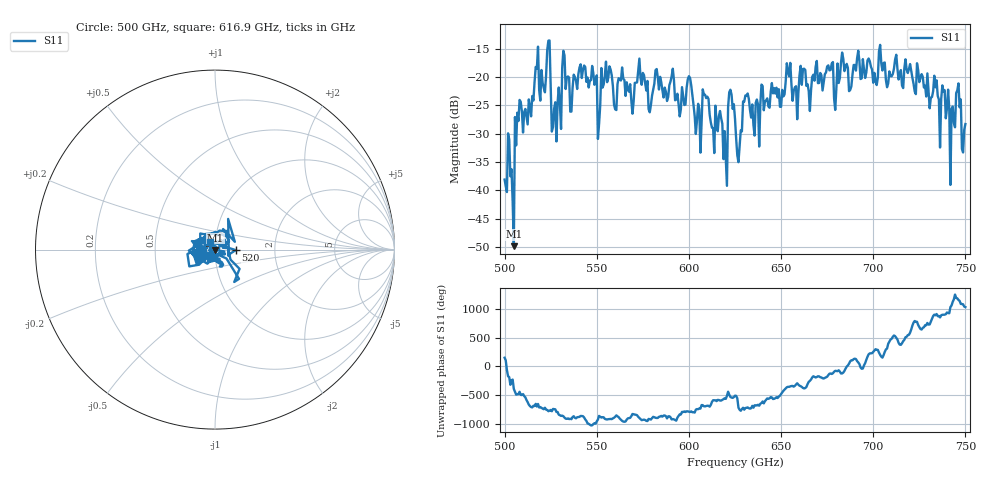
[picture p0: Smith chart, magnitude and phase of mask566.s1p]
!Created with skrf (http://scikit-rf.org).
# GHz S MA R 50.0
!freq magS11 angS11
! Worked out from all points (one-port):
!   401 points, 500 GHz to 750 GHz, reference 50 ohm
!   lowest |S11| = -49.9 dB at 505 GHz (marker M1), VSWR 1.01, Z = 50.3 - j0.17 ohm
!   |S11| at or under -10 dB: start of sweep to end of sweep
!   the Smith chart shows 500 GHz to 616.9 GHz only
!   S11 on the Smith chart (normalised r, x): 500 GHz: 0.98, +0.01; 520 GHz: 1.26, -0.01; 616.9 GHz: 0.94, +0.08
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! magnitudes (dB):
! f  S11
! 500 GHz  -38.1
! 505 GHz  -49.9
! 508.1 GHz  -24.0
! 520 GHz  -18.7
! 523.8 GHz  -13.6
! 526.9 GHz  -25.6
! 531.2 GHz  -18.3
! 542.5 GHz  -18.7
! 551.9 GHz  -25.0
! 553.8 GHz  -21.3
! 562.5 GHz  -20.4
! 593.8 GHz  -22.9
! 600 GHz  -19.8
! 605 GHz  -24.7
! 608.8 GHz  -23.1
! 616.9 GHz  -26.0
! 619.4 GHz  -29.5
! 622.5 GHz  -22.2
! 625 GHz  -27.3
! 626.9 GHz  -35.0
! 630.6 GHz  -23.2
! 636.9 GHz  -24.0
! 656.2 GHz  -24.2
! 687.5 GHz  -22.3
! 718.8 GHz  -19.3
! 743.1 GHz  -25.2
! 746.2 GHz  -21.1
! 750 GHz  -28.3
